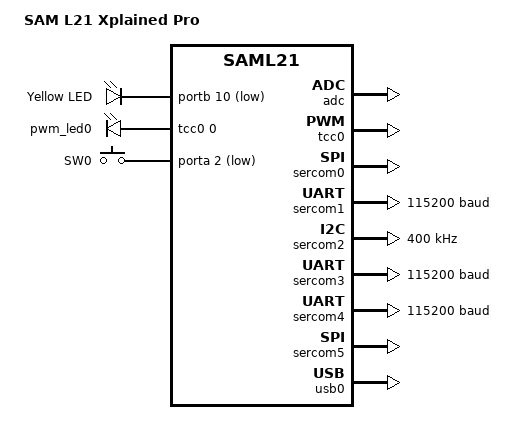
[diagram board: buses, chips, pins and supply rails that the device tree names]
/*
 * Copyright (c) 2021 Argentum Systems Ltd.
 *
 * SPDX-License-Identifier: Apache-2.0
 */

/dts-v1/;
#include <atmel/saml21.dtsi>

/ {
	model = "SAM L21 Xplained Pro";
	compatible = "atsaml21,xpro", "atmel,saml21j18b", "atmel,saml21";

	chosen {
		zephyr,console = &sercom3;
		zephyr,shell-uart = &sercom3;
		zephyr,sram = &sram0;
		zephyr,flash = &flash0;
	};

	/* These aliases are provided for compatibility with samples */
	aliases {
		led0 = &led0;
		pwm-led0 = &pwm_led0;
		sw0 = &user_button;
		i2c-0 = &sercom2;
	};

	leds {
		compatible = "gpio-leds";
		led0: led_0 {
			gpios = <&portb 10 GPIO_ACTIVE_LOW>;
			label = "Yellow LED";
		};
	};

	pwmleds {
		compatible = "pwm-leds";
		pwm_led0: pwm_led_0 {
			pwms = <&tcc0 0>;
		};
	};

	buttons {
		compatible = "gpio-keys";
		user_button: button_0 {
			gpios = <&porta 2 (GPIO_PULL_UP | GPIO_ACTIVE_LOW)>;
			label = "SW0";
		};
	};
};

&cpu0 {
	clock-frequency = <48000000>;
};

&adc {
	status = "okay";
};

&tcc0 {
	status = "okay";
	compatible = "atmel,sam0-tcc-pwm";
	/* Gives a maximum period of 1.4s */
	prescaler = <4>;
	#pwm-cells = <1>;
};

&sercom0 {
	status = "okay";
	compatible = "atmel,sam0-spi";
	dipo = <0>;
	dopo = <1>;
	#address-cells = <1>;
	#size-cells = <0>;
};

&sercom1 {
	status = "okay";
	compatible = "atmel,sam0-uart";
	current-speed = <115200>;
	rxpo = <3>;
	txpo = <0>;

	pinctrl-0 = <&pa19c_sercom1_pad3 &pa18c_sercom1_pad2>;
};

&sercom2 {
	status = "okay";
	compatible = "atmel,sam0-i2c";
	clock-frequency = <I2C_BITRATE_FAST>;
	#address-cells = <1>;
	#size-cells = <0>;
};

&sercom3 {
	status = "okay";
	compatible = "atmel,sam0-uart";
	current-speed = <115200>;
	rxpo = <1>;
	txpo = <0>;

	pinctrl-0 = <&pa23c_sercom3_pad1 &pa22c_sercom3_pad0>;
};

&sercom4 {
	status = "okay";
	compatible = "atmel,sam0-uart";
	current-speed = <115200>;
	rxpo = <1>;
	txpo = <0>;

	pinctrl-0 = <&pb9d_sercom4_pad1 &pb8d_sercom4_pad0>;
};

&sercom5 {
	status = "okay";
	compatible = "atmel,sam0-spi";
	dipo = <0>;
	dopo = <1>;
	#address-cells = <1>;
	#size-cells = <0>;
};

zephyr_udc0: &usb0 {
	status = "okay";
};
